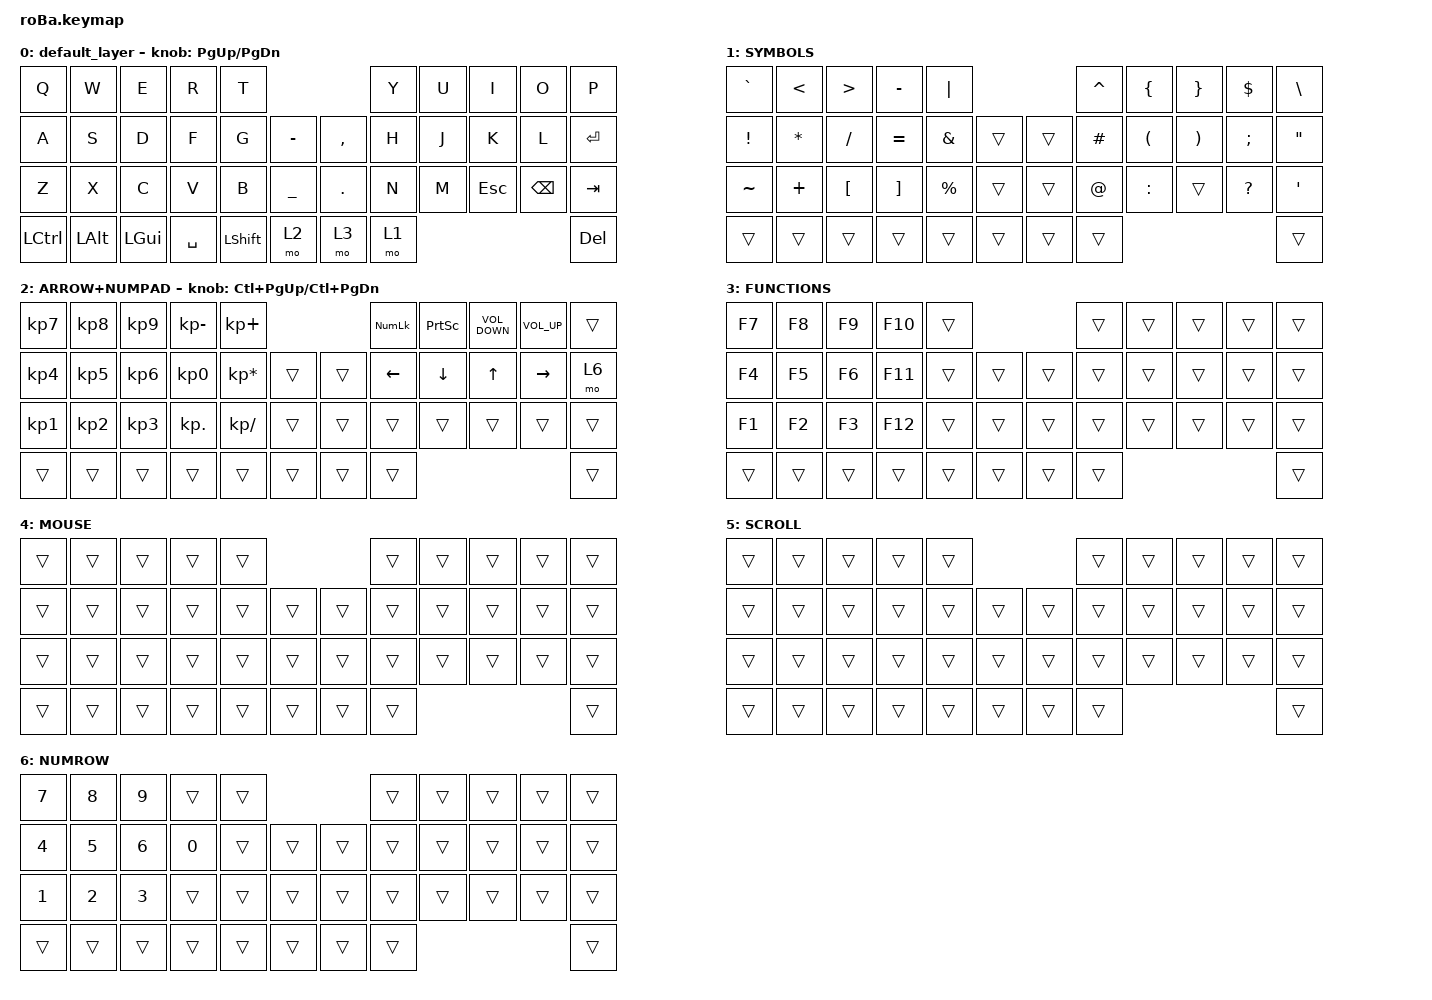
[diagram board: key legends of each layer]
#include <behaviors.dtsi>
#include <dt-bindings/zmk/keys.h>
#include <dt-bindings/zmk/pointing.h>

&mt { retro-tap; };

&lt {
    tapping-term-ms = <0>;
    flavor = "hold-preferred";
    retro-tap;
};

&tog { toggle-mode = "off"; };

&trackball {
    automouse-layer = <4>;
    scroll-layers = <5>;

    // arrows {
    //     layers = <3>;
    //     bindings =
    //         <&kp RIGHT_ARROW>,
    //         <&kp LEFT_ARROW>,
    //         <&kp UP_ARROW>,
    //         <&kp DOWN_ARROW>;
    //     tick = <10>;
    //     wait-ms = <5>;
    //     tap-ms = <5>;
    // };
};

/ {
    combos {
        compatible = "zmk,combos";

        tab {
            bindings = <&kp TAB>;
            key-positions = <11 12>;
        };

        scroll {
            bindings = <&mo 5>;
            key-positions = <7 8>;
        };

        left_click {
            bindings = <&mkp LCLK>;
            key-positions = <18 19>;
        };

        right_click {
            bindings = <&mkp RCLK>;
            key-positions = <19 20>;
        };

        middle_click {
            bindings = <&mkp MCLK>;
            key-positions = <18 20>;
        };

        esc {
            bindings = <&kp ESCAPE>;
            key-positions = <0 1>;
        };
    };

    macros {
        to_layer_0: to_layer_0 {
            compatible = "zmk,behavior-macro-one-param";
            #binding-cells = <1>;
            bindings = <&to 0 &macro_param_1to1 &kp MACRO_PLACEHOLDER>;
            label = "TO_LAYER_0";
        };

        gui_tab: alt_tab {
            compatible = "zmk,behavior-macro";
            #binding-cells = <0>;
            bindings =
                <&macro_press>,
                <&kp LEFT_GUI &kp TAB>,
                <&macro_pause_for_release>,
                <&macro_release>,
                <&kp TAB &kp LEFT_GUI>;

            label = "ALT_TAB";
        };
    };

    behaviors {
        lt_to_layer_0: lt_to_layer_0 {
            compatible = "zmk,behavior-hold-tap";
            label = "LAYER_TAP_TO_0";
            bindings = <&mo>, <&to_layer_0>;

            #binding-cells = <2>;
            tapping-term-ms = <200>;
        };
    };

    keymap {
        compatible = "zmk,keymap";

        default_layer {
            bindings = <
&kp Q      &kp W         &kp E         &kp R      &kp T                                 &kp Y  &kp U  &kp I    &kp O          &kp P
&kp A      &kp S         &kp D         &kp F      &kp G       &kp MINUS      &kp COMMA  &kp H  &kp J  &kp K    &kp L          &kp ENTER
&kp Z      &kp X         &kp C         &kp V      &kp B       &kp UNDER      &kp DOT    &kp N  &kp M  &kp ESC  &kp BACKSPACE  &kp TAB
&kp LCTRL  &kp LEFT_ALT  &kp LEFT_GUI  &kp SPACE  &kp LSHIFT  &mo 2          &mo 3      &mo 1                                 &kp DEL
            >;

            sensor-bindings = <&inc_dec_kp PG_UP PAGE_DOWN>;
        };

        SYMBOLS {
            bindings = <
&kp GRAVE        &kp LESS_THAN  &kp GREATER_THAN  &kp MINUS          &kp PIPE                           &kp CARET  &kp LEFT_BRACE  &kp RIGHT_BRACE  &kp DOLLAR    &kp BACKSLASH
&kp EXCLAMATION  &kp ASTRK      &kp SLASH         &kp EQUAL          &kp AMPERSAND  &trans      &trans  &kp HASH   &kp LPAR        &kp RPAR         &kp SEMI      &kp DOUBLE_QUOTES
&kp TILDE        &kp PLUS       &kp LEFT_BRACKET  &kp RIGHT_BRACKET  &kp PERCENT    &trans      &trans  &kp AT     &kp COLON       &trans           &kp QUESTION  &kp SINGLE_QUOTE
&trans           &trans         &trans            &trans             &trans         &trans      &trans  &trans                                                    &trans
            >;
        };

        ARROW+NUMPAD {
            bindings = <
&kp KP_N7        &kp KP_N8  &kp KP_N9  &kp KP_MINUS  &kp KP_PLUS                          &kp KP_NUMLOCK  &kp PRINTSCREEN  &kp C_VOLUME_DOWN  &kp C_VOLUME_UP  &trans
&kp KP_NUMBER_4  &kp KP_N5  &kp KP_N6  &kp KP_N0     &kp KP_MULTIPLY  &trans      &trans  &kp LEFT        &kp DOWN         &kp UP             &kp RIGHT        &mo 6
&kp KP_N1        &kp KP_N2  &kp KP_N3  &kp KP_DOT    &kp KP_DIVIDE    &trans      &trans  &trans          &trans           &trans             &trans           &trans
&trans           &trans     &trans     &trans        &trans           &trans      &trans  &trans                                                               &trans
            >;

            sensor-bindings = <&inc_dec_kp LC(PAGE_UP) LC(PAGE_DOWN)>;
        };

        FUNCTIONS {
            bindings = <
&kp F7  &kp F8  &kp F9  &kp F10  &trans                      &trans  &trans  &trans  &trans  &trans
&kp F4  &kp F5  &kp F6  &kp F11  &trans  &trans      &trans  &trans  &trans  &trans  &trans  &trans
&kp F1  &kp F2  &kp F3  &kp F12  &trans  &trans      &trans  &trans  &trans  &trans  &trans  &trans
&trans  &trans  &trans  &trans   &trans  &trans      &trans  &trans                          &trans
            >;
        };

        MOUSE {
            bindings = <
&trans  &trans  &trans  &trans  &trans                      &trans  &trans  &trans  &trans  &trans
&trans  &trans  &trans  &trans  &trans  &trans      &trans  &trans  &trans  &trans  &trans  &trans
&trans  &trans  &trans  &trans  &trans  &trans      &trans  &trans  &trans  &trans  &trans  &trans
&trans  &trans  &trans  &trans  &trans  &trans      &trans  &trans                          &trans
            >;
        };

        SCROLL {
            bindings = <
&trans  &trans  &trans  &trans  &trans                      &trans  &trans  &trans  &trans  &trans
&trans  &trans  &trans  &trans  &trans  &trans      &trans  &trans  &trans  &trans  &trans  &trans
&trans  &trans  &trans  &trans  &trans  &trans      &trans  &trans  &trans  &trans  &trans  &trans
&trans  &trans  &trans  &trans  &trans  &trans      &trans  &trans                          &trans
            >;
        };

        NUMROW {
            bindings = <
&kp N7  &kp N8  &kp N9  &trans  &trans                      &trans  &trans  &trans  &trans  &trans
&kp N4  &kp N5  &kp N6  &kp N0  &trans  &trans      &trans  &trans  &trans  &trans  &trans  &trans
&kp N1  &kp N2  &kp N3  &trans  &trans  &trans      &trans  &trans  &trans  &trans  &trans  &trans
&trans  &trans  &trans  &trans  &trans  &trans      &trans  &trans                          &trans
            >;
        };
    };
};
